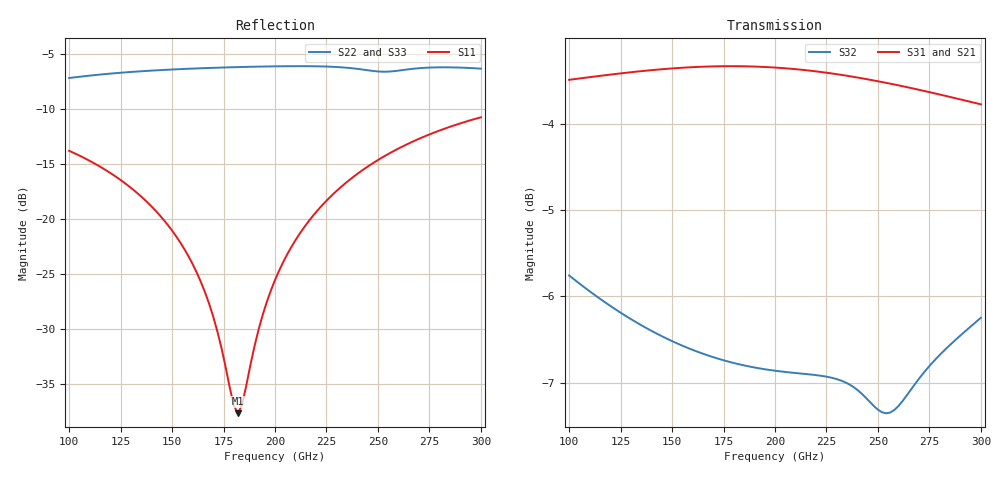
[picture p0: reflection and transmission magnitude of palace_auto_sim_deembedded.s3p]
! Created with skrf 1.11.0 (http://scikit-rf.org).
# GHz S DB R 50.0
!freq dBS11 angS11 dBS12 angS12 dBS13 angS13
! dBS21 angS21 dBS22 angS22 dBS23 angS23
! dBS31 angS31 dBS32 angS32 dBS33 angS33
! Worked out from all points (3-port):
!   101 points, 100 GHz to 300 GHz, reference 50 ohm
!   strongest paths, dB at 100 GHz, 150 GHz, 200 GHz, 250 GHz, 300 GHz:
!     S31: -3.5, -3.4, -3.3, -3.5, -3.8
!     S21: -3.5, -3.4, -3.3, -3.5, -3.8
!     S32: -5.8, -6.5, -6.9, -7.3, -6.2
!   lowest |S11| = -37.7 dB at 182 GHz (marker M1), VSWR 1.03, Z = 51.2 + j0.442 ohm
!   |S11| at or under -10 dB: start of sweep to end of sweep
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100  -13.78 139.2  -3.49 -42.4  -3.49 -42.4
     -3.49 -42.4  -7.15 51.3  -5.76 -99.6
     -3.49 -42.4  -5.76 -99.6  -7.15 51.3
132  -17.47 124.7  -3.40 -56.6  -3.39 -56.6
     -3.40 -56.6  -6.57 30.7  -6.29 -127.1
     -3.39 -56.6  -6.29 -127.1  -6.58 30.7
154  -22.15 111.8  -3.35 -66.6  -3.35 -66.6
     -3.35 -66.6  -6.34 18.9  -6.56 -145.5
     -3.35 -66.6  -6.56 -145.5  -6.34 18.9
168  -27.73 97.3  -3.33 -73.0  -3.33 -73.0
     -3.33 -73.0  -6.24 11.9  -6.69 -157.1
     -3.33 -73.0  -6.69 -157.1  -6.24 11.9
182  -37.71 19.4  -3.33 -79.5  -3.33 -79.5
     -3.33 -79.5  -6.16 5.3  -6.78 -168.7
     -3.33 -79.5  -6.78 -168.7  -6.16 5.2
192  -30.10 -49.4  -3.34 -84.1  -3.34 -84.1
     -3.34 -84.1  -6.11 0.6  -6.83 -177.0
     -3.34 -84.1  -6.83 -177.0  -6.12 0.6
200  -25.57 -63.0  -3.35 -87.8  -3.35 -87.8
     -3.35 -87.8  -6.09 -3.1  -6.86 176.4
     -3.35 -87.8  -6.86 176.4  -6.09 -3.2
216  -20.29 -76.1  -3.38 -95.2  -3.38 -95.2
     -3.38 -95.2  -6.08 -10.7  -6.90 163.0
     -3.38 -95.2  -6.90 163.0  -6.08 -10.7
236  -16.46 -86.9  -3.45 -104.4  -3.44 -104.4
     -3.45 -104.4  -6.23 -20.4  -7.02 145.8
     -3.44 -104.4  -7.02 145.8  -6.24 -20.5
300  -10.73 -114.1  -3.78 -132.8  -3.77 -132.8
     -3.78 -132.8  -6.30 -51.7  -6.25 96.3
     -3.77 -132.8  -6.25 96.3  -6.31 -51.8
